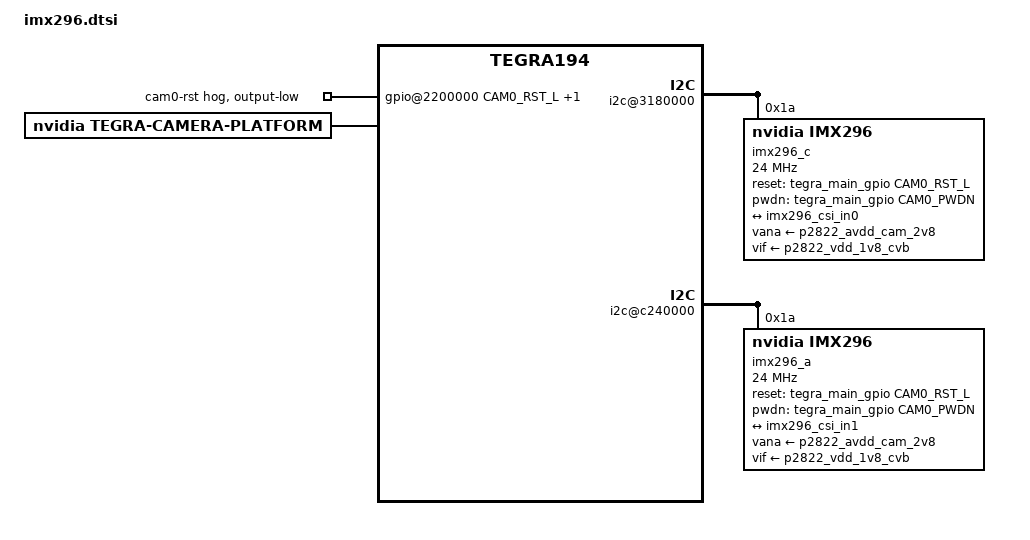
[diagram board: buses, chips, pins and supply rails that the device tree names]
/*
 * Copyright (c) 2015-2019, NVIDIA CORPORATION.  All rights reserved.
 *
 * This program is free software; you can redistribute it and/or modify
 * it under the terms of the GNU General Public License as published by
 * the Free Software Foundation; either version 2 of the License, or
 * (at your option) any later version.
 *
 * This program is distributed in the hope that it will be useful, but WITHOUT
 * ANY WARRANTY; without even the implied warranty of MERCHANTABILITY or
 * FITNESS FOR A PARTICULAR PURPOSE.  See the GNU General Public License for
 * more details.
 *
 * You should have received a copy of the GNU General Public License
 * along with this program.  If not, see <http://www.gnu.org/licenses/>.
 */

#include <t19x-common-modules/tegra194-camera-e3326-a00.dtsi>
#include "dt-bindings/clock/tegra194-clock.h"

#define CAM0_RST_L  TEGRA194_MAIN_GPIO(H, 3)
#define CAM0_PWDN   TEGRA194_MAIN_GPIO(H, 6)

/*
I2C Busses:

aliases:
i2c0 = "/i2c@3160000";
i2c1 = "/i2c@c240000";
i2c2 = "/i2c@3180000";
i2c3 = "/i2c@3190000";
i2c4 = "/i2c@31a0000";
i2c5 = "/i2c@31b0000";
i2c6 = "/i2c@31c0000";
i2c7 = "/i2c@c250000";
i2c8 = "/i2c@31e0000";
*/

/ {

/* camera control gpio definitions */
    gpio@2200000 {
        camera-control-output-low {
            gpio-hog;
            output-low;
            gpios = <CAM0_RST_L 0 CAM0_PWDN 0>;
            label = "cam0-rst", "cam0-pwdn";
        };
    };

    host1x {
        vi@15c10000 {
            num-channels = <2>;
            ports {
                #address-cells = <1>;
                #size-cells = <0>;
                port@0 {
                    reg = <0>;
                    imx296_vi_in0: endpoint {
                        port-index = <2>;       // CSI-C ?? CSI-2
                        bus-width = <1>;        // # of lanes
                        remote-endpoint = <&imx296_csi_out0>;
                    };
                };
                port@1 {
                    reg = <1>;
                    imx296_vi_in1: endpoint {
                        port-index = <4>;       // CSI-C ?? CSI-3
                        bus-width = <1>;        // # of lanes
                        remote-endpoint = <&imx296_csi_out1>;
                    };
                };
            };
        };

        nvcsi@15a00000 {
            num-channels = <2>;
            #address-cells = <1>;
            #size-cells = <0>;
            channel@0 {
                reg = <0>;
                ports {
                    #address-cells = <1>;
                    #size-cells = <0>;
                    port@0 {
                        reg = <0>;
                        imx296_csi_in0: endpoint@0 {
                            port-index = <2>;
                            bus-width = <1>;
                            remote-endpoint = <&imx296_out0>;
                        };
                    };
                    port@1 {
                        reg = <1>;
                        imx296_csi_out0: endpoint@1 {
                            remote-endpoint = <&imx296_vi_in0>;
                        };
                    };
                };
            };
            channel@1 {
                reg = <1>;
                ports {
                    #address-cells = <1>;
                    #size-cells = <0>;
                    port@0 {
                        reg = <0>;
                        imx296_csi_in1: endpoint@2 {
                            port-index = <4>;
                            bus-width = <1>;
                            remote-endpoint = <&imx296_out1>;
                        };
                    };
                    port@1 {
                        reg = <1>;
                        imx296_csi_out1: endpoint@3 {
                            remote-endpoint = <&imx296_vi_in1>;
                        };
                    };
                };
            };
        };
    };

    i2c@3180000 {
        imx296_c@1a {
            compatible = "nvidia,imx296";
            /* I2C device address */
            reg = <0x1a>;
            fpga_addr = "0x10";

            /* V4L2 device node location */
            devnode = "video0";

            /* Physical dimensions of sensor */
            physical_w = "3.674";
            physical_h = "2.738";

            /* Define any required hw resources needed by driver */
            /* ie. clocks, io pins, power sources */
            /* mclk-index indicates the index of the */
            /* mclk-name with in the clock-names array */

            clocks = <&bpmp_clks TEGRA194_CLK_EXTPERIPH1>,
                     <&bpmp_clks TEGRA194_CLK_PLLP_OUT0>;
            clock-names = "extperiph1", "pllp_grtba";
            clock-frequency = <24000000>;
            mclk = "extperiph1";
            reset-gpios = <&tegra_main_gpio CAM0_RST_L GPIO_ACTIVE_HIGH>;
            pwdn-gpios = <&tegra_main_gpio CAM0_PWDN GPIO_ACTIVE_HIGH>;
            vana-supply = <&p2822_avdd_cam_2v8>;
            vif-supply = <&p2822_vdd_1v8_cvb>;
//            vdig-supply = <&p2822_vdd_sys_en>;

            avdd-reg = "vana";
            iovdd-reg = "vif";

            /* Sensor output flip settings */
            vertical-flip = "true";
            flash-output = "0";

            /**
            * A modeX node is required to support v4l2 driver
            * implementation with NVIDIA camera software stack
            *
            * mclk_khz = "";
            * Standard MIPI driving clock, typically 24MHz
            *
            * num_lanes = "";
            * Number of lane channels sensor is programmed to output
            *
            * tegra_sinterface = "";
            * The base tegra serial interface lanes are connected to
            * Incase of virtual HW devices, use virtual
            * For SW emulated devices, use host
            *
            * phy_mode = "";
            * PHY mode used by the MIPI lanes for this device
            *
            * discontinuous_clk = "";
            * The sensor is programmed to use a discontinuous clock on MIPI lanes
            *
            * dpcm_enable = "true";
            * The sensor is programmed to use a DPCM modes
            *
            * cil_settletime = "";
            * MIPI lane settle time value.
            * A "0" value attempts to autocalibrate based on mclk_multiplier
            *
            *
            *
            *
            * active_w = "";
            * Pixel active region width
            *
            * active_h = "";
            * Pixel active region height
            *
            * pixel_t = "";
            * The sensor readout pixel pattern
            *
            * readout_orientation = "0";
            * Based on camera module orientation.
            * Only change readout_orientation if you specifically
            * Program a different readout order for this mode
            *
            * line_length = "";
            * Pixel line length (width) for sensor mode.
            * This is used to calibrate features in our camera stack.
            *
            * mclk_multiplier = "";
            * Multiplier to MCLK to help time hardware capture sequence
            * TODO: Assign to PLL_Multiplier as well until fixed in core
            *
            * pix_clk_hz = "";
            * Sensor pixel clock used for calculations like exposure and framerate
            *
            *
            *
            *
            * inherent_gain = "";
            * Gain obtained inherently from mode (ie. pixel binning)
            *
            * == Source Control Settings ==
            *
            * Gain factor used to convert fixed point integer to float
            * Gain range [min_gain/gain_factor, max_gain/gain_factor]
            * Gain step [step_gain/gain_factor is the smallest step that can be configured]
            * Default gain [Default gain to be initialized for the control.
            *     use min_gain_val as default for optimal results]
            * Framerate factor used to convert fixed point integer to float
            * Framerate range [min_framerate/framerate_factor, max_framerate/framerate_factor]
            * Framerate step [step_framerate/framerate_factor is the smallest step that can be configured]
            * Default Framerate [Default framerate to be initialized for the control.
            *     use max_framerate to get required performance]
            * Exposure factor used to convert fixed point integer to float
            * For convenience use 1 sec = 1000000us as conversion factor
            * Exposure range [min_exp_time/exposure_factor, max_exp_time/exposure_factor]
            * Exposure step [step_exp_time/exposure_factor is the smallest step that can be configured]
            * Default Exposure Time [Default exposure to be initialized for the control.
            *     Set default exposure based on the default_framerate for optimal exposure settings]
            *
            * gain_factor = ""; (integer factor used for floating to fixed point conversion)
            * min_gain_val = ""; (ceil to integer)
            * max_gain_val = ""; (ceil to integer)
            * step_gain_val = ""; (ceil to integer)
            * default_gain = ""; (ceil to integer)
            * Gain limits for mode
            *
            * exposure_factor = ""; (integer factor used for floating to fixed point conversion)
            * min_exp_time = ""; (ceil to integer)
            * max_exp_time = ""; (ceil to integer)
            * step_exp_time = ""; (ceil to integer)
            * default_exp_time = ""; (ceil to integer)
            * Exposure Time limits for mode (us)
            *
            *
            * min_hdr_ratio = "";
            * max_hdr_ratio = "";
            * HDR Ratio limits for mode
            *
            * framerate_factor = ""; (integer factor used for floating to fixed point conversion)
            * min_framerate = "";
            * max_framerate = "";
            * step_framerate = ""; (ceil to integer)
            * default_framerate = ""; (ceil to integer)
            * Framerate limits for mode (fps)
            */
            mode0 {   // IMX296_MODE_1440X1080, 60 FPS
                mclk_khz = "24000";
                num_lanes = "1";
                tegra_sinterface = "serial_c";
                phy_mode = "DPHY";
                discontinuous_clk = "no"; // "yes";  // ???
                dpcm_enable = "false";
                cil_settletime = "0";

                active_w = "1440";          // +++
                active_h = "1080";          // +++
                pixel_t = "y10";                // V4L2_PIX_FMT_Y10     'Y10 '
//                pixel_t = "bayer_rggb";       // V4L2_PIX_FMT_SRGGB10 'RG10'

                csi_pixel_bit_depth = "10";

                readout_orientation = "0";
                line_length = "1568";  // "2688";
                inherent_gain = "1";
                mclk_multiplier = "6.67";

//                pix_clk_hz = "93312000";        // 1440 * 1080 * 60 = 93312000
//                pix_clk_hz = "160000000";
//                pix_clk_hz = "320000000";
              pix_clk_hz = "400000000";


                gain_factor = "10";
                min_gain_val = "0";    /* 1DB*/
                max_gain_val = "480";  /* 16DB*/
                step_gain_val = "1";
                default_gain = "0";
                min_hdr_ratio = "1";
                max_hdr_ratio = "1";
                framerate_factor = "1000000";
                min_framerate = "10000000";    /* 10. FPS */
                max_framerate = "60000000";    /* 60. FPS */
                step_framerate = "1";
                default_framerate = "30000000";  /* 30. FPS */
                exposure_factor = "1000000";
                min_exp_time = "29";        /* us */
                max_exp_time = "15110711";  /* us */
                step_exp_time = "1";
                default_exp_time = "2000"; /* us */
                embedded_metadata_height = "2";  // "1", "2"  ???
            };

            mode1 {   // IMX297_MODE_720X540, 120 FPS
                mclk_khz = "24000";
                num_lanes = "1";
                tegra_sinterface = "serial_c";
                phy_mode = "DPHY";
                discontinuous_clk = "no"; // "yes";  // ???
                dpcm_enable = "false";
                cil_settletime = "0";

                active_w = "704";           // +++
                active_h = "540";           // +++
                pixel_t = "y10";                // V4L2_PIX_FMT_Y10 "Y10"
//                pixel_t = "bayer_rggb";       // V4L2_PIX_FMT_SRGGB10 "RG10"

                csi_pixel_bit_depth = "10";

                readout_orientation = "0";
                line_length = "720"; // "1568";  // "2688";
                inherent_gain = "1";
                mclk_multiplier = "6.67";

//                pix_clk_hz = "93312000";        // 1440 * 1080 * 60 = 93312000
//                pix_clk_hz = "160000000";
//                pix_clk_hz = "320000000";
              pix_clk_hz = "200000000";

                gain_factor = "10";
                min_gain_val = "0";    /* 1DB*/
                max_gain_val = "480";  /* 16DB*/
                step_gain_val = "1";
                default_gain = "0";
                min_hdr_ratio = "1";
                max_hdr_ratio = "1";
                framerate_factor = "1000000";
                min_framerate = "10000000";    /* 10. FPS */
                max_framerate = "120000000";   /* 120. FPS */
                step_framerate = "1";
                default_framerate = "30000000";  /* 30. FPS */
                exposure_factor = "1000000";
                min_exp_time = "29";        /* us */
                max_exp_time = "15110711";  /* us */
                step_exp_time = "1";
                default_exp_time = "2000"; /* us */
                embedded_metadata_height = "2";  // "1", "2"  ???
            };

//            mode1 { // OV9281_MODE_1280X800, 30 FPS, GRAY8 format
//                mclk_khz = "24000";
//                num_lanes = "1";
//                tegra_sinterface = "serial_c";
//                phy_mode = "DPHY";
//                discontinuous_clk = "yes";   // ??? "no"
//                dpcm_enable = "false";
//                cil_settletime = "0";
//
//                active_w = "1280";
//                active_h = "800";
//                pixel_t = "gray";             // V4L2_PIX_FMT_GREY    "GREY"
//                csi_pixel_bit_depth = "8";    // ??? "10"
//                readout_orientation = "0";
//                line_length = "1408";  // "2688";
//                inherent_gain = "1";
//                mclk_multiplier = "6.67";
//                pix_clk_hz = "160000000";
//
//                gain_factor = "10";
//                min_gain_val = "0";    /* 1DB*/
//                max_gain_val = "254";  /* 16DB*/
//                step_gain_val = "1";
//                default_gain = "16";
//                min_hdr_ratio = "1";
//                max_hdr_ratio = "1";
//                framerate_factor = "1000000";
//                min_framerate = "10000000";    /* 10. FPS  */
//                max_framerate = "120000000";  /* 120. FPS */
//                step_framerate = "1";
//                default_framerate = "30000000"; /* 30. FPS */
//                exposure_factor = "1000000";
//                min_exp_time = "8";         /* us */
//                max_exp_time = "7719";      /* us */
//                step_exp_time = "1";
//                default_exp_time = "2233";  /* us */
//                embedded_metadata_height = "0";
//            };


            ports {
                #address-cells = <1>;
                #size-cells = <0>;

                port@0 {
                    reg = <0>;
                    imx296_out0: endpoint {
                        port-index = <2>;
                        bus-width = <1>;
                        remote-endpoint = <&imx296_csi_in0>;
                    };
                };
            };
        };
    };
//        imx296_c@10 {
//            compatible = "dummy";
//            reg = <0x10>;
//            status = "disabled";
//        };

    i2c@c240000 {
        imx296_a@1a {
            compatible = "nvidia,imx296";
            /* I2C device address */
            reg = <0x1a>;
            fpga_addr = "0x10";

            /* V4L2 device node location */
            devnode = "video1";

            /* Physical dimensions of sensor */
            physical_w = "3.674";
            physical_h = "2.738";

            /* Define any required hw resources needed by driver */
            /* ie. clocks, io pins, power sources */
            /* mclk-index indicates the index of the */
            /* mclk-name with in the clock-names array */

            clocks = <&bpmp_clks TEGRA194_CLK_EXTPERIPH1>,
                     <&bpmp_clks TEGRA194_CLK_PLLP_OUT0>;
            clock-names = "extperiph1", "pllp_grtba";
            clock-frequency = <24000000>;
            mclk = "extperiph1";
            reset-gpios = <&tegra_main_gpio CAM0_RST_L GPIO_ACTIVE_HIGH>;
            pwdn-gpios = <&tegra_main_gpio CAM0_PWDN GPIO_ACTIVE_HIGH>;
            vana-supply = <&p2822_avdd_cam_2v8>;
            vif-supply = <&p2822_vdd_1v8_cvb>;
//            vdig-supply = <&p2822_vdd_sys_en>;

            avdd-reg = "vana";
            iovdd-reg = "vif";

            /* Sensor output flip settings */
            vertical-flip = "true";
            flash-output = "0";

            /**
            * A modeX node is required to support v4l2 driver
            * implementation with NVIDIA camera software stack
            *
            * mclk_khz = "";
            * Standard MIPI driving clock, typically 24MHz
            *
            * num_lanes = "";
            * Number of lane channels sensor is programmed to output
            *
            * tegra_sinterface = "";
            * The base tegra serial interface lanes are connected to
            * Incase of virtual HW devices, use virtual
            * For SW emulated devices, use host
            *
            * phy_mode = "";
            * PHY mode used by the MIPI lanes for this device
            *
            * discontinuous_clk = "";
            * The sensor is programmed to use a discontinuous clock on MIPI lanes
            *
            * dpcm_enable = "true";
            * The sensor is programmed to use a DPCM modes
            *
            * cil_settletime = "";
            * MIPI lane settle time value.
            * A "0" value attempts to autocalibrate based on mclk_multiplier
            *
            *
            *
            *
            * active_w = "";
            * Pixel active region width
            *
            * active_h = "";
            * Pixel active region height
            *
            * pixel_t = "";
            * The sensor readout pixel pattern
            *
            * readout_orientation = "0";
            * Based on camera module orientation.
            * Only change readout_orientation if you specifically
            * Program a different readout order for this mode
            *
            * line_length = "";
            * Pixel line length (width) for sensor mode.
            * This is used to calibrate features in our camera stack.
            *
            * mclk_multiplier = "";
            * Multiplier to MCLK to help time hardware capture sequence
            * TODO: Assign to PLL_Multiplier as well until fixed in core
            *
            * pix_clk_hz = "";
            * Sensor pixel clock used for calculations like exposure and framerate
            *
            *
            *
            *
            * inherent_gain = "";
            * Gain obtained inherently from mode (ie. pixel binning)
            *
            * == Source Control Settings ==
            *
            * Gain factor used to convert fixed point integer to float
            * Gain range [min_gain/gain_factor, max_gain/gain_factor]
            * Gain step [step_gain/gain_factor is the smallest step that can be configured]
            * Default gain [Default gain to be initialized for the control.
            *     use min_gain_val as default for optimal results]
            * Framerate factor used to convert fixed point integer to float
            * Framerate range [min_framerate/framerate_factor, max_framerate/framerate_factor]
            * Framerate step [step_framerate/framerate_factor is the smallest step that can be configured]
            * Default Framerate [Default framerate to be initialized for the control.
            *     use max_framerate to get required performance]
            * Exposure factor used to convert fixed point integer to float
            * For convenience use 1 sec = 1000000us as conversion factor
            * Exposure range [min_exp_time/exposure_factor, max_exp_time/exposure_factor]
            * Exposure step [step_exp_time/exposure_factor is the smallest step that can be configured]
            * Default Exposure Time [Default exposure to be initialized for the control.
            *     Set default exposure based on the default_framerate for optimal exposure settings]
            *
            * gain_factor = ""; (integer factor used for floating to fixed point conversion)
            * min_gain_val = ""; (ceil to integer)
            * max_gain_val = ""; (ceil to integer)
            * step_gain_val = ""; (ceil to integer)
            * default_gain = ""; (ceil to integer)
            * Gain limits for mode
            *
            * exposure_factor = ""; (integer factor used for floating to fixed point conversion)
            * min_exp_time = ""; (ceil to integer)
            * max_exp_time = ""; (ceil to integer)
            * step_exp_time = ""; (ceil to integer)
            * default_exp_time = ""; (ceil to integer)
            * Exposure Time limits for mode (us)
            *
            *
            * min_hdr_ratio = "";
            * max_hdr_ratio = "";
            * HDR Ratio limits for mode
            *
            * framerate_factor = ""; (integer factor used for floating to fixed point conversion)
            * min_framerate = "";
            * max_framerate = "";
            * step_framerate = ""; (ceil to integer)
            * default_framerate = ""; (ceil to integer)
            * Framerate limits for mode (fps)
            */
            mode0 {   // IMX296_MODE_1440X1080, 60 FPS
                mclk_khz = "24000";
                num_lanes = "1";
                tegra_sinterface = "serial_c";
                phy_mode = "DPHY";
                discontinuous_clk = "no"; // "yes";  // ???
                dpcm_enable = "false";
                cil_settletime = "0";

                active_w = "1440";          // +++
                active_h = "1080";          // +++
                pixel_t = "y10";                // V4L2_PIX_FMT_Y10     'Y10 '
//                pixel_t = "bayer_rggb";       // V4L2_PIX_FMT_SRGGB10 'RG10'

                csi_pixel_bit_depth = "10";

                readout_orientation = "0";
                line_length = "1568";  // "2688";
                inherent_gain = "1";
                mclk_multiplier = "6.67";

//                pix_clk_hz = "93312000";        // 1440 * 1080 * 60 = 93312000
//                pix_clk_hz = "160000000";
//                pix_clk_hz = "320000000";
              pix_clk_hz = "400000000";


                gain_factor = "10";
                min_gain_val = "0";    /* 1DB*/
                max_gain_val = "480";  /* 16DB*/
                step_gain_val = "1";
                default_gain = "0";
                min_hdr_ratio = "1";
                max_hdr_ratio = "1";
                framerate_factor = "1000000";
                min_framerate = "10000000";    /* 10. FPS */
                max_framerate = "60000000";    /* 60. FPS */
                step_framerate = "1";
                default_framerate = "30000000";  /* 30. FPS */
                exposure_factor = "1000000";
                min_exp_time = "29";        /* us */
                max_exp_time = "15110711";  /* us */
                step_exp_time = "1";
                default_exp_time = "2000"; /* us */
                embedded_metadata_height = "2";  // "1", "2"  ???
            };

            mode1 {   // IMX297_MODE_720X540, 120 FPS
                mclk_khz = "24000";
                num_lanes = "1";
                tegra_sinterface = "serial_c";
                phy_mode = "DPHY";
                discontinuous_clk = "no"; // "yes";  // ???
                dpcm_enable = "false";
                cil_settletime = "0";

                active_w = "704";           // +++
                active_h = "540";           // +++
                pixel_t = "y10";                // V4L2_PIX_FMT_Y10 "Y10"
//                pixel_t = "bayer_rggb";       // V4L2_PIX_FMT_SRGGB10 "RG10"

                csi_pixel_bit_depth = "10";

                readout_orientation = "0";
                line_length = "720"; // "1568";  // "2688";
                inherent_gain = "1";
                mclk_multiplier = "6.67";

//                pix_clk_hz = "93312000";        // 1440 * 1080 * 60 = 93312000
//                pix_clk_hz = "160000000";
//                pix_clk_hz = "320000000";
              pix_clk_hz = "200000000";

                gain_factor = "10";
                min_gain_val = "0";    /* 1DB*/
                max_gain_val = "480";  /* 16DB*/
                step_gain_val = "1";
                default_gain = "0";
                min_hdr_ratio = "1";
                max_hdr_ratio = "1";
                framerate_factor = "1000000";
                min_framerate = "10000000";    /* 10. FPS */
                max_framerate = "120000000";   /* 120. FPS */
                step_framerate = "1";
                default_framerate = "30000000";  /* 30. FPS */
                exposure_factor = "1000000";
                min_exp_time = "29";        /* us */
                max_exp_time = "15110711";  /* us */
                step_exp_time = "1";
                default_exp_time = "2000"; /* us */
                embedded_metadata_height = "2";  // "1", "2"  ???
            };

//            mode1 { // OV9281_MODE_1280X800, 30 FPS, GRAY8 format
//                mclk_khz = "24000";
//                num_lanes = "1";
//                tegra_sinterface = "serial_c";
//                phy_mode = "DPHY";
//                discontinuous_clk = "yes";   // ??? "no"
//                dpcm_enable = "false";
//                cil_settletime = "0";
//
//                active_w = "1280";
//                active_h = "800";
//                pixel_t = "gray";             // V4L2_PIX_FMT_GREY    "GREY"
//                csi_pixel_bit_depth = "8";    // ??? "10"
//                readout_orientation = "0";
//                line_length = "1408";  // "2688";
//                inherent_gain = "1";
//                mclk_multiplier = "6.67";
//                pix_clk_hz = "160000000";
//
//                gain_factor = "10";
//                min_gain_val = "0";    /* 1DB*/
//                max_gain_val = "254";  /* 16DB*/
//                step_gain_val = "1";
//                default_gain = "16";
//                min_hdr_ratio = "1";
//                max_hdr_ratio = "1";
//                framerate_factor = "1000000";
//                min_framerate = "10000000";    /* 10. FPS  */
//                max_framerate = "120000000";  /* 120. FPS */
//                step_framerate = "1";
//                default_framerate = "30000000"; /* 30. FPS */
//                exposure_factor = "1000000";
//                min_exp_time = "8";         /* us */
//                max_exp_time = "7719";      /* us */
//                step_exp_time = "1";
//                default_exp_time = "2233";  /* us */
//                embedded_metadata_height = "0";
//            };


            ports {
                #address-cells = <1>;
                #size-cells = <0>;

                port@0 {
                    reg = <0>;
                    imx296_out1: endpoint {
                        port-index = <4>;
                        bus-width = <1>;
                        remote-endpoint = <&imx296_csi_in1>;
                    };
                };
            };
        };
    };

    tegra-camera-platform {
        compatible = "nvidia, tegra-camera-platform";
        /**
        * Physical settings to calculate max ISO BW
        *
        * num_csi_lanes = <>;
        * Total number of CSI lanes when all cameras are active
        *
        * max_lane_speed = <>;
        * Max lane speed in Kbit/s
        *
        * min_bits_per_pixel = <>;
        * Min bits per pixel
        *
        * vi_peak_byte_per_pixel = <>;
        * Max byte per pixel for the VI ISO case
        *
        * vi_bw_margin_pct = <>;
        * Vi bandwidth margin in percentage
        *
        * max_pixel_rate = <>;
        * Max pixel rate in Kpixel/s for the ISP ISO case
        *
        * isp_peak_byte_per_pixel = <>;
        * Max byte per pixel for the ISP ISO case
        *
        * isp_bw_margin_pct = <>;
        * Isp bandwidth margin in percentage
        */
        num_csi_lanes = <2>;
        max_lane_speed = <1500000>;
        min_bits_per_pixel = <10>;
//        min_bits_per_pixel = <8>;
        vi_peak_byte_per_pixel = <2>;
        vi_bw_margin_pct = <25>;
        max_pixel_rate = <160000>;
        isp_peak_byte_per_pixel = <5>;
        isp_bw_margin_pct = <25>;

        /**
        * The general guideline for naming badge_info contains 3 parts, and is as follows,
        * The first part is the camera_board_id for the module; if the module is in a FFD
        * platform, then use the platform name for this part.
        * The second part contains the position of the module, ex. “rear” or “front”.
        * The third part contains the last 6 characters of a part number which is found
        * in the module's specsheet from the vender.
        */
        modules {
            module0 {
                badge = "e3326_front_P5V27C";
                position = "rear";
                orientation = "1";
                drivernode0 {
                    pcl_id = "v4l2_sensor";      /* Declare PCL support driver (classically known as guid)  */
                    devname = "imx296 2-001a";  /* Driver v4l2 device name */
                    /* Declare the device-tree hierarchy to driver instance */
                    proc-device-tree = "/proc/device-tree/i2c@3180000/imx296_c@1a";
                };

//                drivernode1 {
//                    /* Declare PCL support driver (classically known as guid)  */
//                    pcl_id = "v4l2_lens";
//                    proc-device-tree = "/proc/device-tree/e3326_lens_imx296@P5V27C/";
//                };

            };
            module1 {
                badge = "e3326_front_P5V27C";
                position = "front";
                orientation = "1";
                drivernode0 {
                    pcl_id = "v4l2_sensor";      /* Declare PCL support driver (classically known as guid)  */
                    devname = "imx296 1-001a";  /* Driver v4l2 device name */
                    /* Declare the device-tree hierarchy to driver instance */
                    proc-device-tree = "/proc/device-tree/i2c@c240000/imx296_a@1a";
                };
            };
        };
    };
};
